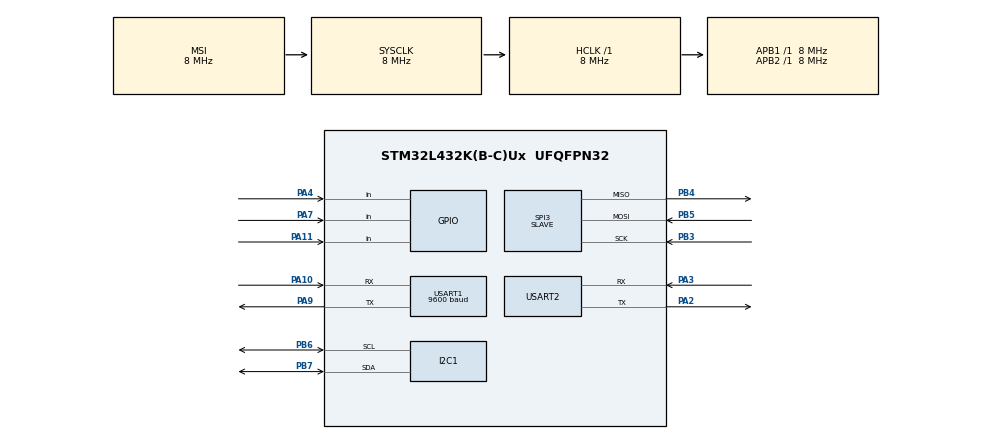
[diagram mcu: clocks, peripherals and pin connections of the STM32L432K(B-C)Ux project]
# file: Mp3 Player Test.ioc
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I2C1.Timing=0x2000090E
Mcu.Family=STM32L4
Mcu.Name=STM32L432K(B-C)Ux
Mcu.Package=UFQFPN32
NVIC.PriorityGroup=NVIC_PRIORITYGROUP_4
PA10.Mode=Asynchronous
PA10.Signal=USART1_RX
PA11.Signal=GPIO_Input
PA13\ (JTMS-SWDIO).Mode=Serial_Wire
PA13\ (JTMS-SWDIO).Signal=SYS_JTMS-SWDIO
PA14\ (JTCK-SWCLK).Mode=Serial_Wire
PA14\ (JTCK-SWCLK).Signal=SYS_JTCK-SWCLK
PA2.Mode=Asynchronous
PA2.Signal=USART2_TX
PA3.Mode=Asynchronous
PA3.Signal=USART2_RX
PA4.Signal=GPIO_Input
PA7.Signal=GPIO_Input
PA9.Mode=Asynchronous
PA9.Signal=USART1_TX
PB3\ (JTDO-TRACESWO).Mode=Full_Duplex_Slave
PB3\ (JTDO-TRACESWO).Signal=SPI3_SCK
PB4\ (NJTRST).Mode=Full_Duplex_Slave
PB4\ (NJTRST).Signal=SPI3_MISO
PB5.Mode=Full_Duplex_Slave
PB5.Signal=SPI3_MOSI
PB6.Mode=I2C
PB6.Signal=I2C1_SCL
PB7.Mode=I2C
PB7.Signal=I2C1_SDA
PC14-OSC32_IN\ (PC14).Mode=LSE-External-Oscillator
PC14-OSC32_IN\ (PC14).Signal=RCC_OSC32_IN
PC15-OSC32_OUT\ (PC15).Mode=LSE-External-Oscillator
PC15-OSC32_OUT\ (PC15).Signal=RCC_OSC32_OUT
ProjectManager.HeapSize=0x200
ProjectManager.StackSize=0x400
ProjectManager.TargetToolchain=MDK-ARM V5
RCC.ADCFreq_Value=32000000
RCC.AHBFreq_Value=8000000
RCC.APB1Freq_Value=8000000
RCC.APB1TimFreq_Value=8000000
RCC.APB2Freq_Value=8000000
RCC.APB2TimFreq_Value=8000000
RCC.CortexFreq_Value=8000000
RCC.HCLKFreq_Value=8000000
RCC.HSE_VALUE=8000000
RCC.HSI48_VALUE=48000000
RCC.HSI_VALUE=16000000
RCC.MSIClockRange=RCC_MSIRANGE_7
RCC.MSI_VALUE=8000000
RCC.PLLN=36
RCC.SYSCLKFreq_VALUE=8000000
RCC.USBFreq_Value=32000000
RCC.VCOOutputFreq_Value=288000000
SPI3.DataSize=SPI_DATASIZE_8BIT
SPI3.Direction=SPI_DIRECTION_2LINES
SPI3.Mode=SPI_MODE_SLAVE
SPI3.VirtualType=VM_SLAVE
USART1.BaudRate=9600
USART1.VirtualMode-Asynchronous=VM_ASYNC
USART2.VirtualMode-Asynchronous=VM_ASYNC
board=custom

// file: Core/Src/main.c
/* USER CODE BEGIN Header */
/**
  ******************************************************************************
  * @file           : main.c
  * @brief          : Main program body
  ******************************************************************************
  * @attention
  *
  * <h2><center>&copy; Copyright (c) 2021 STMicroelectronics.
  * All rights reserved.</center></h2>
  *
  * This software component is licensed by ST under BSD 3-Clause license,
  * the "License"; You may not use this file except in compliance with the
  * License. You may obtain a copy of the License at:
  *                        opensource.org/licenses/BSD-3-Clause
  *
  ******************************************************************************
  */
/* USER CODE END Header */
#include "main.h"

/* USER CODE BEGIN Includes */
#include "DFPLAYER_MINI.h"
#include "tcs_color_sensor.h"
/* USER CODE END Includes */

extern I2C_HandleTypeDef hi2c1;

SPI_HandleTypeDef hspi3;

UART_HandleTypeDef huart1;
UART_HandleTypeDef huart2;

/* USER CODE BEGIN PV */
uint8_t debugStatus=0;
uint8_t state=1;
uint16_t r, g, b, c, colorTemp, lux;

int IR_LEFT   = 0;
int IR_CENTER = 0;
int IR_RIGHT  = 0;
uint8_t right_msg[10]   = "RIGHT";
uint8_t left_msg[10]    = "LEFT";
uint8_t forward_msg[10] = "CENTER";
uint8_t endline         = '\n';
uint8_t cr              = '\r';
int red_flag            = 0;
int green_flag          = 0;
int blue_flag           = 0;
uint8_t Speed           = 0x20;
uint8_t zero            = 0;
uint8_t ForwardBoth[]   = {0xC2,0xCA};
uint8_t Left[]          = {0xC1,0xCA};
uint8_t Right[]         = {0xC2,0xC9};
char SPI_data[3]        = {0};

/* USER CODE END PV */

void SystemClock_Config(void);
static void MX_GPIO_Init(void);
static void MX_USART1_UART_Init(void);
static void MX_USART2_UART_Init(void);
static void MX_I2C1_Init(void);
static void MX_SPI3_Init(void);

/* USER CODE BEGIN 0 */
void play_audio()
{
	  HAL_Delay(1000);
		getRawData_noDelay(&r, &g, &b, &c);
		uint32_t sum = c;

		// Avoid divide by zero errors ... if clear = 0 return black
		if (c == 0) {
			r = g = b = 0;
		}
		else
		{
			r = (float)r / sum * 255.0f;
			g = (float)g / sum * 255.0f;
			b = (float)b / sum * 255.0f;
		}
		if(r>100 && g<70 && b<100) //red
		{
				DF_Play(1);
		}
		else if(r<100 && g>100 && b<100) //green
		{
				DF_Play(2);
		}
		else if(r<100 && g<100 && b>100) //blue
		{
				DF_Play(3);
		}
		else
		{
				DF_Play(4);
		}
}
void detect_color()
{
		getRawData_noDelay(&r, &g, &b, &c);
		uint32_t sum = c;
		if (c == 0)
			r = g = b = 0;
		else
		{
			r = (float)r / sum * 255.0f;
			g = (float)g / sum * 255.0f;
			b = (float)b / sum * 255.0f;
		}
		if(r>100 && g<70 && b<100) //red
				red_flag = 1;
		else if(r<100 && g>100 && b<100) //green
				green_flag = 1;
		else if(r<100 && g<100 && b>100) //blue
				blue_flag = 1;
}
void follow_red()
{
	 detect_color();
	 while (!red_flag)
	 {
			IR_LEFT   = HAL_GPIO_ReadPin(GPIOA, GPIO_PIN_4);
			IR_CENTER = HAL_GPIO_ReadPin(GPIOA, GPIO_PIN_11);
			IR_RIGHT  = HAL_GPIO_ReadPin(GPIOA, GPIO_PIN_7);

			if (IR_LEFT == 1 && IR_RIGHT == 0) //turn right conditions
			{
				HAL_UART_Transmit(&huart2 , &Right[0] ,1 ,HAL_MAX_DELAY);
				HAL_UART_Transmit(&huart2 , &Speed ,1 ,HAL_MAX_DELAY);
				HAL_UART_Transmit(&huart2 , &Right[1] ,1 ,HAL_MAX_DELAY);
				HAL_UART_Transmit(&huart2 , &Speed ,1 ,HAL_MAX_DELAY);

				HAL_Delay(1480); //90-degrees turn delay

				//play record
				HAL_UART_Transmit(&huart2 , &ForwardBoth[0] ,1 ,HAL_MAX_DELAY);
				HAL_UART_Transmit(&huart2 , &zero ,1 ,HAL_MAX_DELAY);
				HAL_UART_Transmit(&huart2 , &ForwardBoth[1] ,1 ,HAL_MAX_DELAY);
				HAL_UART_Transmit(&huart2 , &zero ,1 ,HAL_MAX_DELAY);
				play_audio();
				HAL_Delay(5000);

				HAL_UART_Transmit(&huart2 , &ForwardBoth[0] ,1 ,HAL_MAX_DELAY);
				HAL_UART_Transmit(&huart2 , &Speed ,1 ,HAL_MAX_DELAY);
				HAL_UART_Transmit(&huart2 , &ForwardBoth[1] ,1 ,HAL_MAX_DELAY);
				HAL_UART_Transmit(&huart2 , &Speed ,1 ,HAL_MAX_DELAY);
				HAL_Delay(500);
			}
			else if (IR_LEFT == 0 && IR_RIGHT == 1) //turn left conditions
			{
				HAL_UART_Transmit(&huart2 , &Left[0] ,1 ,HAL_MAX_DELAY);
				HAL_UART_Transmit(&huart2 , &Speed ,1 ,HAL_MAX_DELAY);
				HAL_UART_Transmit(&huart2 , &Left[1] ,1 ,HAL_MAX_DELAY);
				HAL_UART_Transmit(&huart2 , &Speed ,1 ,HAL_MAX_DELAY);

				HAL_Delay(1480); //90-degrees turn delay

				//play record
				HAL_UART_Transmit(&huart2 , &ForwardBoth[0] ,1 ,HAL_MAX_DELAY);
				HAL_UART_Transmit(&huart2 , &zero ,1 ,HAL_MAX_DELAY);
				HAL_UART_Transmit(&huart2 , &ForwardBoth[1] ,1 ,HAL_MAX_DELAY);
				HAL_UART_Transmit(&huart2 , &zero ,1 ,HAL_MAX_DELAY);
				play_audio();
				HAL_Delay(5000);

				HAL_UART_Transmit(&huart2 , &ForwardBoth[0] ,1 ,HAL_MAX_DELAY);
				HAL_UART_Transmit(&huart2 , &Speed ,1 ,HAL_MAX_DELAY);
				HAL_UART_Transmit(&huart2 , &ForwardBoth[1] ,1 ,HAL_MAX_DELAY);
				HAL_UART_Transmit(&huart2 , &Speed ,1 ,HAL_MAX_DELAY);
				HAL_Delay(500);
			}
			else //forward
			{
				HAL_UART_Transmit(&huart2 , &ForwardBoth[0] ,1 ,HAL_MAX_DELAY);
				HAL_UART_Transmit(&huart2 , &Speed ,1 ,HAL_MAX_DELAY);
				HAL_UART_Transmit(&huart2 , &ForwardBoth[1] ,1 ,HAL_MAX_DELAY);
				HAL_UART_Transmit(&huart2 , &Speed ,1 ,HAL_MAX_DELAY);
			}

			//re-read the color
			detect_color();
		}

		//stop when while loop is finished --> when red is reached
		HAL_UART_Transmit(&huart2 , &ForwardBoth[0] ,1 ,HAL_MAX_DELAY);
		HAL_UART_Transmit(&huart2 , &zero ,1 ,HAL_MAX_DELAY);
		HAL_UART_Transmit(&huart2 , &ForwardBoth[1] ,1 ,HAL_MAX_DELAY);
		HAL_UART_Transmit(&huart2 , &zero ,1 ,HAL_MAX_DELAY);

		//play audio
		play_audio();
		HAL_Delay(5000);
}
void follow_green()
{
	 detect_color();
	 while (!green_flag)
	 {
			IR_LEFT   = HAL_GPIO_ReadPin(GPIOA, GPIO_PIN_4);
			IR_CENTER = HAL_GPIO_ReadPin(GPIOA, GPIO_PIN_11);
			IR_RIGHT  = HAL_GPIO_ReadPin(GPIOA, GPIO_PIN_7);

			if (IR_LEFT == 1 && IR_RIGHT == 0) //turn right conditions
			{
				HAL_UART_Transmit(&huart2 , &Right[0] ,1 ,HAL_MAX_DELAY);
				HAL_UART_Transmit(&huart2 , &Speed ,1 ,HAL_MAX_DELAY);
				HAL_UART_Transmit(&huart2 , &Right[1] ,1 ,HAL_MAX_DELAY);
				HAL_UART_Transmit(&huart2 , &Speed ,1 ,HAL_MAX_DELAY);

				HAL_Delay(1480); //90-degrees turn delay

				//play record
				HAL_UART_Transmit(&huart2 , &ForwardBoth[0] ,1 ,HAL_MAX_DELAY);
				HAL_UART_Transmit(&huart2 , &zero ,1 ,HAL_MAX_DELAY);
				HAL_UART_Transmit(&huart2 , &ForwardBoth[1] ,1 ,HAL_MAX_DELAY);
				HAL_UART_Transmit(&huart2 , &zero ,1 ,HAL_MAX_DELAY);
				play_audio();
				HAL_Delay(5000);

				HAL_UART_Transmit(&huart2 , &ForwardBoth[0] ,1 ,HAL_MAX_DELAY);
				HAL_UART_Transmit(&huart2 , &Speed ,1 ,HAL_MAX_DELAY);
				HAL_UART_Transmit(&huart2 , &ForwardBoth[1] ,1 ,HAL_MAX_DELAY);
				HAL_UART_Transmit(&huart2 , &Speed ,1 ,HAL_MAX_DELAY);
				HAL_Delay(500);
			}
			else if (IR_LEFT == 0 && IR_RIGHT == 1) //turn left conditions
			{
				HAL_UART_Transmit(&huart2 , &Left[0] ,1 ,HAL_MAX_DELAY);
				HAL_UART_Transmit(&huart2 , &Speed ,1 ,HAL_MAX_DELAY);
				HAL_UART_Transmit(&huart2 , &Left[1] ,1 ,HAL_MAX_DELAY);
				HAL_UART_Transmit(&huart2 , &Speed ,1 ,HAL_MAX_DELAY);

				HAL_Delay(1480); //90-degrees turn delay

				//play record
				HAL_UART_Transmit(&huart2 , &ForwardBoth[0] ,1 ,HAL_MAX_DELAY);
				HAL_UART_Transmit(&huart2 , &zero ,1 ,HAL_MAX_DELAY);
				HAL_UART_Transmit(&huart2 , &ForwardBoth[1] ,1 ,HAL_MAX_DELAY);
				HAL_UART_Transmit(&huart2 , &zero ,1 ,HAL_MAX_DELAY);
				play_audio();
				HAL_Delay(5000);

				HAL_UART_Transmit(&huart2 , &ForwardBoth[0] ,1 ,HAL_MAX_DELAY);
				HAL_UART_Transmit(&huart2 , &Speed ,1 ,HAL_MAX_DELAY);
				HAL_UART_Transmit(&huart2 , &ForwardBoth[1] ,1 ,HAL_MAX_DELAY);
				HAL_UART_Transmit(&huart2 , &Speed ,1 ,HAL_MAX_DELAY);
				HAL_Delay(500);
			}
			else //forward
			{
				HAL_UART_Transmit(&huart2 , &ForwardBoth[0] ,1 ,HAL_MAX_DELAY);
				HAL_UART_Transmit(&huart2 , &Speed ,1 ,HAL_MAX_DELAY);
				HAL_UART_Transmit(&huart2 , &ForwardBoth[1] ,1 ,HAL_MAX_DELAY);
				HAL_UART_Transmit(&huart2 , &Speed ,1 ,HAL_MAX_DELAY);
			}

			//re-read the color
			detect_color();
		}

		//stop when while loop is finished --> when red is reached
		HAL_UART_Transmit(&huart2 , &ForwardBoth[0] ,1 ,HAL_MAX_DELAY);
		HAL_UART_Transmit(&huart2 , &zero ,1 ,HAL_MAX_DELAY);
		HAL_UART_Transmit(&huart2 , &ForwardBoth[1] ,1 ,HAL_MAX_DELAY);
		HAL_UART_Transmit(&huart2 , &zero ,1 ,HAL_MAX_DELAY);

		//play audio
		play_audio();
		HAL_Delay(5000);
}
void follow_blue()
{
	 detect_color();
	 while (!red_flag)
	 {
			IR_LEFT   = HAL_GPIO_ReadPin(GPIOA, GPIO_PIN_4);
			IR_CENTER = HAL_GPIO_ReadPin(GPIOA, GPIO_PIN_11);
			IR_RIGHT  = HAL_GPIO_ReadPin(GPIOA, GPIO_PIN_7);

			if (IR_LEFT == 1 && IR_RIGHT == 0) //turn right conditions
			{
				HAL_UART_Transmit(&huart2 , &Right[0] ,1 ,HAL_MAX_DELAY);
				HAL_UART_Transmit(&huart2 , &Speed ,1 ,HAL_MAX_DELAY);
				HAL_UART_Transmit(&huart2 , &Right[1] ,1 ,HAL_MAX_DELAY);
				HAL_UART_Transmit(&huart2 , &Speed ,1 ,HAL_MAX_DELAY);

				HAL_Delay(1480); //90-degrees turn delay

				//play record
				HAL_UART_Transmit(&huart2 , &ForwardBoth[0] ,1 ,HAL_MAX_DELAY);
				HAL_UART_Transmit(&huart2 , &zero ,1 ,HAL_MAX_DELAY);
				HAL_UART_Transmit(&huart2 , &ForwardBoth[1] ,1 ,HAL_MAX_DELAY);
				HAL_UART_Transmit(&huart2 , &zero ,1 ,HAL_MAX_DELAY);
				play_audio();
				HAL_Delay(5000);

				HAL_UART_Transmit(&huart2 , &ForwardBoth[0] ,1 ,HAL_MAX_DELAY);
				HAL_UART_Transmit(&huart2 , &Speed ,1 ,HAL_MAX_DELAY);
				HAL_UART_Transmit(&huart2 , &ForwardBoth[1] ,1 ,HAL_MAX_DELAY);
				HAL_UART_Transmit(&huart2 , &Speed ,1 ,HAL_MAX_DELAY);
				HAL_Delay(500);
			}
			else if (IR_LEFT == 0 && IR_RIGHT == 1) //turn left conditions
			{
				HAL_UART_Transmit(&huart2 , &Left[0] ,1 ,HAL_MAX_DELAY);
				HAL_UART_Transmit(&huart2 , &Speed ,1 ,HAL_MAX_DELAY);
				HAL_UART_Transmit(&huart2 , &Left[1] ,1 ,HAL_MAX_DELAY);
				HAL_UART_Transmit(&huart2 , &Speed ,1 ,HAL_MAX_DELAY);

				HAL_Delay(1480); //90-degrees turn delay

				//play record
				HAL_UART_Transmit(&huart2 , &ForwardBoth[0] ,1 ,HAL_MAX_DELAY);
				HAL_UART_Transmit(&huart2 , &zero ,1 ,HAL_MAX_DELAY);
				HAL_UART_Transmit(&huart2 , &ForwardBoth[1] ,1 ,HAL_MAX_DELAY);
				HAL_UART_Transmit(&huart2 , &zero ,1 ,HAL_MAX_DELAY);
				play_audio();
				HAL_Delay(5000);

				HAL_UART_Transmit(&huart2 , &ForwardBoth[0] ,1 ,HAL_MAX_DELAY);
				HAL_UART_Transmit(&huart2 , &Speed ,1 ,HAL_MAX_DELAY);
				HAL_UART_Transmit(&huart2 , &ForwardBoth[1] ,1 ,HAL_MAX_DELAY);
				HAL_UART_Transmit(&huart2 , &Speed ,1 ,HAL_MAX_DELAY);
				HAL_Delay(500);
			}
			else //forward
			{
				HAL_UART_Transmit(&huart2 , &ForwardBoth[0] ,1 ,HAL_MAX_DELAY);
				HAL_UART_Transmit(&huart2 , &Speed ,1 ,HAL_MAX_DELAY);
				HAL_UART_Transmit(&huart2 , &ForwardBoth[1] ,1 ,HAL_MAX_DELAY);
				HAL_UART_Transmit(&huart2 , &Speed ,1 ,HAL_MAX_DELAY);
			}

			//re-read the color
			detect_color();
		}

		//stop when while loop is finished --> when red is reached
		HAL_UART_Transmit(&huart2 , &ForwardBoth[0] ,1 ,HAL_MAX_DELAY);
		HAL_UART_Transmit(&huart2 , &zero ,1 ,HAL_MAX_DELAY);
		HAL_UART_Transmit(&huart2 , &ForwardBoth[1] ,1 ,HAL_MAX_DELAY);
		HAL_UART_Transmit(&huart2 , &zero ,1 ,HAL_MAX_DELAY);

		//play audio
		play_audio();
		HAL_Delay(5000);
}
void general_tour()
{
IR_LEFT   = HAL_GPIO_ReadPin(GPIOA, GPIO_PIN_4);
		IR_CENTER = HAL_GPIO_ReadPin(GPIOA, GPIO_PIN_11);
		IR_RIGHT  = HAL_GPIO_ReadPin(GPIOA, GPIO_PIN_7);

		if (IR_LEFT == 1 && IR_RIGHT == 0) //turn right conditions
		{
			HAL_UART_Transmit(&huart2 , &Right[0] ,1 ,HAL_MAX_DELAY);
			HAL_UART_Transmit(&huart2 , &Speed ,1 ,HAL_MAX_DELAY);
			HAL_UART_Transmit(&huart2 , &Right[1] ,1 ,HAL_MAX_DELAY);
			HAL_UART_Transmit(&huart2 , &Speed ,1 ,HAL_MAX_DELAY);

			HAL_Delay(1480); //90-degrees turn delay

			//play record
			HAL_UART_Transmit(&huart2 , &ForwardBoth[0] ,1 ,HAL_MAX_DELAY);
			HAL_UART_Transmit(&huart2 , &zero ,1 ,HAL_MAX_DELAY);
			HAL_UART_Transmit(&huart2 , &ForwardBoth[1] ,1 ,HAL_MAX_DELAY);
			HAL_UART_Transmit(&huart2 , &zero ,1 ,HAL_MAX_DELAY);
			play_audio();
			HAL_Delay(5000);

			HAL_UART_Transmit(&huart2 , &ForwardBoth[0] ,1 ,HAL_MAX_DELAY);
			HAL_UART_Transmit(&huart2 , &Speed ,1 ,HAL_MAX_DELAY);
			HAL_UART_Transmit(&huart2 , &ForwardBoth[1] ,1 ,HAL_MAX_DELAY);
			HAL_UART_Transmit(&huart2 , &Speed ,1 ,HAL_MAX_DELAY);
			HAL_Delay(500);
		}
		if (IR_LEFT == 0 && IR_RIGHT == 1) //turn left conditions
		{
			HAL_UART_Transmit(&huart2 , &Left[0] ,1 ,HAL_MAX_DELAY);
			HAL_UART_Transmit(&huart2 , &Speed ,1 ,HAL_MAX_DELAY);
			HAL_UART_Transmit(&huart2 , &Left[1] ,1 ,HAL_MAX_DELAY);
			HAL_UART_Transmit(&huart2 , &Speed ,1 ,HAL_MAX_DELAY);

			HAL_Delay(1480); //90-degrees turn delay

			//play record
			HAL_UART_Transmit(&huart2 , &ForwardBoth[0] ,1 ,HAL_MAX_DELAY);
			HAL_UART_Transmit(&huart2 , &zero ,1 ,HAL_MAX_DELAY);
			HAL_UART_Transmit(&huart2 , &ForwardBoth[1] ,1 ,HAL_MAX_DELAY);
			HAL_UART_Transmit(&huart2 , &zero ,1 ,HAL_MAX_DELAY);
			play_audio();
			HAL_Delay(5000);

			HAL_UART_Transmit(&huart2 , &ForwardBoth[0] ,1 ,HAL_MAX_DELAY);
			HAL_UART_Transmit(&huart2 , &Speed ,1 ,HAL_MAX_DELAY);
			HAL_UART_Transmit(&huart2 , &ForwardBoth[1] ,1 ,HAL_MAX_DELAY);
			HAL_UART_Transmit(&huart2 , &Speed ,1 ,HAL_MAX_DELAY);
			HAL_Delay(500);
		}
		else //forward
		{
			HAL_UART_Transmit(&huart2 , &ForwardBoth[0] ,1 ,HAL_MAX_DELAY);
			HAL_UART_Transmit(&huart2 , &Speed ,1 ,HAL_MAX_DELAY);
			HAL_UART_Transmit(&huart2 , &ForwardBoth[1] ,1 ,HAL_MAX_DELAY);
			HAL_UART_Transmit(&huart2 , &Speed ,1 ,HAL_MAX_DELAY);
		}
}
/* USER CODE END 0 */

int main(void)
{

  /* MCU Configuration--------------------------------------------------------*/

  /* Reset of all peripherals, Initializes the Flash interface and the Systick. */
  HAL_Init();

  /* Configure the system clock */
  SystemClock_Config();

  /* Initialize all configured peripherals */
  MX_GPIO_Init();
  MX_USART1_UART_Init();
  MX_USART2_UART_Init();
  MX_I2C1_Init();
  MX_SPI3_Init();
  /* USER CODE BEGIN 2 */
	DF_Init(40);
	if (tcs_init()) {
      debugStatus=0x55; //Found sensor
  } else {
      debugStatus=0xAA;    //No TCS34725 found ... check your connections
    while (1);
  }
  // Set persistence filter to generate an interrupt for every RGB Cycle, regardless of the integration limits
  write8(0x0C, 0);
  setInterrupt(1);

	//DF_PlayFromStart();

	HAL_Delay(3000);
  /* USER CODE END 2 */
  /* Infinite loop */
  while (1)
  {

    /* USER CODE BEGIN 3 */

		/////////////////////////////start SPI slave part///////////////////////////////////////
		HAL_SPI_Receive(&hspi3, (uint8_t*)SPI_data, sizeof(SPI_data), 100);
		if (SPI_data[0] == 'R')
		{
			//follow the line until you find Green --> then stop
			follow_red();
		}
		else if (SPI_data[0] == 'G')
		{
			//follow the line until you find Green --> then stop
			follow_green();
		}
		else if (SPI_data[0] == 'B')
		{
			//follow the line until you find Blue --> then stop
			follow_blue();
		}
		else
		{
			//give the general tour of all exhibits
			general_tour();
		}
		/////////////////////////////end SPI slave part///////////////////////////////////////

		IR_LEFT   = HAL_GPIO_ReadPin(GPIOA, GPIO_PIN_4);
		IR_CENTER = HAL_GPIO_ReadPin(GPIOA, GPIO_PIN_11);
		IR_RIGHT  = HAL_GPIO_ReadPin(GPIOA, GPIO_PIN_7);

		if (IR_LEFT == 1 && IR_RIGHT == 0) //turn right conditions
		{
			HAL_UART_Transmit(&huart2 , &Right[0] ,1 ,HAL_MAX_DELAY);
			HAL_UART_Transmit(&huart2 , &Speed ,1 ,HAL_MAX_DELAY);
			HAL_UART_Transmit(&huart2 , &Right[1] ,1 ,HAL_MAX_DELAY);
			HAL_UART_Transmit(&huart2 , &Speed ,1 ,HAL_MAX_DELAY);

			HAL_Delay(1480); //90-degrees turn delay

			//play record
			HAL_UART_Transmit(&huart2 , &ForwardBoth[0] ,1 ,HAL_MAX_DELAY);
			HAL_UART_Transmit(&huart2 , &zero ,1 ,HAL_MAX_DELAY);
			HAL_UART_Transmit(&huart2 , &ForwardBoth[1] ,1 ,HAL_MAX_DELAY);
			HAL_UART_Transmit(&huart2 , &zero ,1 ,HAL_MAX_DELAY);
			play_audio();
			HAL_Delay(5000);

			HAL_UART_Transmit(&huart2 , &ForwardBoth[0] ,1 ,HAL_MAX_DELAY);
			HAL_UART_Transmit(&huart2 , &Speed ,1 ,HAL_MAX_DELAY);
			HAL_UART_Transmit(&huart2 , &ForwardBoth[1] ,1 ,HAL_MAX_DELAY);
			HAL_UART_Transmit(&huart2 , &Speed ,1 ,HAL_MAX_DELAY);
			HAL_Delay(500);
		}
		if (IR_LEFT == 0 && IR_RIGHT == 1) //turn left conditions
		{
			HAL_UART_Transmit(&huart2 , &Left[0] ,1 ,HAL_MAX_DELAY);
			HAL_UART_Transmit(&huart2 , &Speed ,1 ,HAL_MAX_DELAY);
			HAL_UART_Transmit(&huart2 , &Left[1] ,1 ,HAL_MAX_DELAY);
			HAL_UART_Transmit(&huart2 , &Speed ,1 ,HAL_MAX_DELAY);

			HAL_Delay(1480); //90-degrees turn delay

			//play record
			HAL_UART_Transmit(&huart2 , &ForwardBoth[0] ,1 ,HAL_MAX_DELAY);
			HAL_UART_Transmit(&huart2 , &zero ,1 ,HAL_MAX_DELAY);
			HAL_UART_Transmit(&huart2 , &ForwardBoth[1] ,1 ,HAL_MAX_DELAY);
			HAL_UART_Transmit(&huart2 , &zero ,1 ,HAL_MAX_DELAY);
			play_audio();
			HAL_Delay(5000);

			HAL_UART_Transmit(&huart2 , &ForwardBoth[0] ,1 ,HAL_MAX_DELAY);
			HAL_UART_Transmit(&huart2 , &Speed ,1 ,HAL_MAX_DELAY);
			HAL_UART_Transmit(&huart2 , &ForwardBoth[1] ,1 ,HAL_MAX_DELAY);
			HAL_UART_Transmit(&huart2 , &Speed ,1 ,HAL_MAX_DELAY);
			HAL_Delay(500);
		}
		else //forward
		{
			HAL_UART_Transmit(&huart2 , &ForwardBoth[0] ,1 ,HAL_MAX_DELAY);
			HAL_UART_Transmit(&huart2 , &Speed ,1 ,HAL_MAX_DELAY);
			HAL_UART_Transmit(&huart2 , &ForwardBoth[1] ,1 ,HAL_MAX_DELAY);
			HAL_UART_Transmit(&huart2 , &Speed ,1 ,HAL_MAX_DELAY);
		}

  }
  /* USER CODE END 3 */
}

void SystemClock_Config(void)
{
  RCC_OscInitTypeDef RCC_OscInitStruct = {0};
  RCC_ClkInitTypeDef RCC_ClkInitStruct = {0};
  RCC_PeriphCLKInitTypeDef PeriphClkInit = {0};

  /** Configure LSE Drive Capability
  */
  HAL_PWR_EnableBkUpAccess();
  __HAL_RCC_LSEDRIVE_CONFIG(RCC_LSEDRIVE_LOW);
  /** Initializes the RCC Oscillators according to the specified parameters
  * in the RCC_OscInitTypeDef structure.
  */
  RCC_OscInitStruct.OscillatorType = RCC_OSCILLATORTYPE_LSE|RCC_OSCILLATORTYPE_MSI;
  RCC_OscInitStruct.LSEState = RCC_LSE_ON;
  RCC_OscInitStruct.MSIState = RCC_MSI_ON;
  RCC_OscInitStruct.MSICalibrationValue = 0;
  RCC_OscInitStruct.MSIClockRange = RCC_MSIRANGE_7;
  RCC_OscInitStruct.PLL.PLLState = RCC_PLL_NONE;
  if (HAL_RCC_OscConfig(&RCC_OscInitStruct) != HAL_OK)
  {
    Error_Handler();
  }
  /** Initializes the CPU, AHB and APB buses clocks
  */
  RCC_ClkInitStruct.ClockType = RCC_CLOCKTYPE_HCLK|RCC_CLOCKTYPE_SYSCLK
                              |RCC_CLOCKTYPE_PCLK1|RCC_CLOCKTYPE_PCLK2;
  RCC_ClkInitStruct.SYSCLKSource = RCC_SYSCLKSOURCE_MSI;
  RCC_ClkInitStruct.AHBCLKDivider = RCC_SYSCLK_DIV1;
  RCC_ClkInitStruct.APB1CLKDivider = RCC_HCLK_DIV1;
  RCC_ClkInitStruct.APB2CLKDivider = RCC_HCLK_DIV1;

  if (HAL_RCC_ClockConfig(&RCC_ClkInitStruct, FLASH_LATENCY_0) != HAL_OK)
  {
    Error_Handler();
  }
  PeriphClkInit.PeriphClockSelection = RCC_PERIPHCLK_USART1|RCC_PERIPHCLK_USART2
                              |RCC_PERIPHCLK_I2C1;
  PeriphClkInit.Usart1ClockSelection = RCC_USART1CLKSOURCE_PCLK2;
  PeriphClkInit.Usart2ClockSelection = RCC_USART2CLKSOURCE_PCLK1;
  PeriphClkInit.I2c1ClockSelection = RCC_I2C1CLKSOURCE_PCLK1;
  if (HAL_RCCEx_PeriphCLKConfig(&PeriphClkInit) != HAL_OK)
  {
    Error_Handler();
  }
  /** Configure the main internal regulator output voltage
  */
  if (HAL_PWREx_ControlVoltageScaling(PWR_REGULATOR_VOLTAGE_SCALE1) != HAL_OK)
  {
    Error_Handler();
  }
  /** Enable MSI Auto calibration
  */
  HAL_RCCEx_EnableMSIPLLMode();
}

static void MX_I2C1_Init(void)
{

  hi2c1.Instance = I2C1;
  hi2c1.Init.Timing = 0x2000090E;
  hi2c1.Init.OwnAddress1 = 0;
  hi2c1.Init.AddressingMode = I2C_ADDRESSINGMODE_7BIT;
  hi2c1.Init.DualAddressMode = I2C_DUALADDRESS_DISABLE;
  hi2c1.Init.OwnAddress2 = 0;
  hi2c1.Init.OwnAddress2Masks = I2C_OA2_NOMASK;
  hi2c1.Init.GeneralCallMode = I2C_GENERALCALL_DISABLE;
  hi2c1.Init.NoStretchMode = I2C_NOSTRETCH_DISABLE;
  if (HAL_I2C_Init(&hi2c1) != HAL_OK)
  {
    Error_Handler();
  }
  /** Configure Analogue filter
  */
  if (HAL_I2CEx_ConfigAnalogFilter(&hi2c1, I2C_ANALOGFILTER_ENABLE) != HAL_OK)
  {
    Error_Handler();
  }
  /** Configure Digital filter
  */
  if (HAL_I2CEx_ConfigDigitalFilter(&hi2c1, 0) != HAL_OK)
  {
    Error_Handler();
  }

}

static void MX_SPI3_Init(void)
{

  /* SPI3 parameter configuration*/
  hspi3.Instance = SPI3;
  hspi3.Init.Mode = SPI_MODE_SLAVE;
  hspi3.Init.Direction = SPI_DIRECTION_2LINES;
  hspi3.Init.DataSize = SPI_DATASIZE_8BIT;
  hspi3.Init.CLKPolarity = SPI_POLARITY_LOW;
  hspi3.Init.CLKPhase = SPI_PHASE_1EDGE;
  hspi3.Init.NSS = SPI_NSS_SOFT;
  hspi3.Init.FirstBit = SPI_FIRSTBIT_MSB;
  hspi3.Init.TIMode = SPI_TIMODE_DISABLE;
  hspi3.Init.CRCCalculation = SPI_CRCCALCULATION_DISABLE;
  hspi3.Init.CRCPolynomial = 7;
  hspi3.Init.CRCLength = SPI_CRC_LENGTH_DATASIZE;
  hspi3.Init.NSSPMode = SPI_NSS_PULSE_DISABLE;
  if (HAL_SPI_Init(&hspi3) != HAL_OK)
  {
    Error_Handler();
  }

}

static void MX_USART1_UART_Init(void)
{

  huart1.Instance = USART1;
  huart1.Init.BaudRate = 9600;
  huart1.Init.WordLength = UART_WORDLENGTH_8B;
  huart1.Init.StopBits = UART_STOPBITS_1;
  huart1.Init.Parity = UART_PARITY_NONE;
  huart1.Init.Mode = UART_MODE_TX_RX;
  huart1.Init.HwFlowCtl = UART_HWCONTROL_NONE;
  huart1.Init.OverSampling = UART_OVERSAMPLING_16;
  huart1.Init.OneBitSampling = UART_ONE_BIT_SAMPLE_DISABLE;
  huart1.AdvancedInit.AdvFeatureInit = UART_ADVFEATURE_NO_INIT;
  if (HAL_UART_Init(&huart1) != HAL_OK)
  {
    Error_Handler();
  }

}

static void MX_USART2_UART_Init(void)
{

  huart2.Instance = USART2;
  huart2.Init.BaudRate = 19200;
  huart2.Init.WordLength = UART_WORDLENGTH_8B;
  huart2.Init.StopBits = UART_STOPBITS_1;
  huart2.Init.Parity = UART_PARITY_NONE;
  huart2.Init.Mode = UART_MODE_TX_RX;
  huart2.Init.HwFlowCtl = UART_HWCONTROL_NONE;
  huart2.Init.OverSampling = UART_OVERSAMPLING_16;
  huart2.Init.OneBitSampling = UART_ONE_BIT_SAMPLE_DISABLE;
  huart2.AdvancedInit.AdvFeatureInit = UART_ADVFEATURE_NO_INIT;
  if (HAL_UART_Init(&huart2) != HAL_OK)
  {
    Error_Handler();
  }

}

static void MX_GPIO_Init(void)
{
  GPIO_InitTypeDef GPIO_InitStruct = {0};

  /* GPIO Ports Clock Enable */
  __HAL_RCC_GPIOC_CLK_ENABLE();
  __HAL_RCC_GPIOA_CLK_ENABLE();
  __HAL_RCC_GPIOB_CLK_ENABLE();

  /*Configure GPIO pins : PA4 PA7 PA11 */
  GPIO_InitStruct.Pin = GPIO_PIN_4|GPIO_PIN_7|GPIO_PIN_11;
  GPIO_InitStruct.Mode = GPIO_MODE_INPUT;
  GPIO_InitStruct.Pull = GPIO_NOPULL;
  HAL_GPIO_Init(GPIOA, &GPIO_InitStruct);

}

void Error_Handler(void)
{
  __disable_irq();
  while (1)
  {
  }
}

/************************ (C) COPYRIGHT STMicroelectronics *****END OF FILE****/
